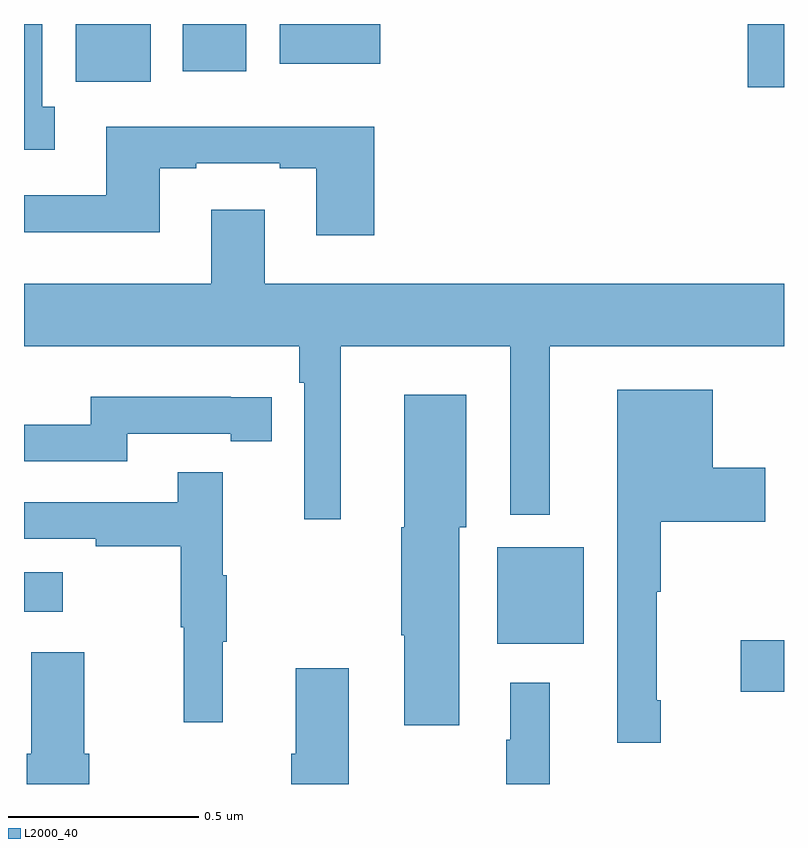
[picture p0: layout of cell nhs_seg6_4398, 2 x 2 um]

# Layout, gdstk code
import gdstk
lib = gdstk.Library(unit=1e-6, precision=1e-09)
def R(c, l, rs):  # rectangles x0, y0, x1, y1
    for r in rs: c.add(gdstk.rectangle(r[:2], r[2:], *l))
def P(c, l, *ps):  # polygons
    for p in ps: c.add(gdstk.Polygon(p, *l))
L2000_40 = (2000, 40)

nhs_seg6_4398 = lib.new_cell('nhs_seg6_4398')
R(nhs_seg6_4398, L2000_40, [(170.886,963.743,171,963.878), (170.246,963.869,170.473,964.123), (169,963.953,169.102,964.057), (170.904,965.333,171,965.5), (169.136,965.348,169.333,965.5), (169.418,965.376,169.585,965.5), (169.673,965.396,169.937,965.5)])
P(nhs_seg6_4398, L2000_40, [(169.081,965.282),(169.048,965.282),(169.048,965.5),(169,965.5),(169,965.169),(169.081,965.169)],
  [(169.922,965.23),(169.217,965.23),(169.217,965.049),(169,965.049),(169,964.952),(169.357,964.952),(169.357,965.121),(169.453,965.121),(169.453,965.133),(169.673,965.133),(169.673,965.121),(169.769,965.121),(169.769,964.944),(169.922,964.944)],
  [(169.834,964.652),(170.279,964.652),(170.279,964.208),(170.383,964.208),(170.383,964.652),(171,964.652),(171,964.816),(169.633,964.816),(169.633,965.011),(169.493,965.011),(169.493,964.816),(169,964.816),(169,964.652),(169.724,964.652),(169.724,964.556),(169.737,964.556),(169.737,964.197),(169.834,964.197)],
  [(170.675,963.721),(170.665,963.721),(170.665,964.006),(170.675,964.006),(170.675,964.19),(170.95,964.19),(170.95,964.332),(170.812,964.332),(170.812,964.537),(170.561,964.537),(170.561,963.609),(170.675,963.609)],
  [(170.146,964.176),(170.164,964.176),(170.164,964.525),(170,964.525),(170,964.176),(169.993,964.176),(169.993,963.892),(170,963.892),(170,963.654),(170.146,963.654)],
  [(169.272,964.422),(169.544,964.422),(169.544,964.402),(169.652,964.402),(169.652,964.518),(169.544,964.518),(169.544,964.519),(169.176,964.519),(169.176,964.446),(169,964.446),(169,964.35),(169.272,964.35)],
  [(169.523,963.875),(169.534,963.875),(169.534,964.049),(169.523,964.049),(169.523,964.321),(169.405,964.321),(169.405,964.242),(169,964.242),(169,964.146),(169.189,964.146),(169.189,964.126),(169.413,964.126),(169.413,963.912),(169.42,963.912),(169.42,963.663),(169.523,963.663)],
  [(169.172,963.58),(169.159,963.58),(169.159,963.847),(169.019,963.847),(169.019,963.58),(169.007,963.58),(169.007,963.5),(169.172,963.5)],
  [(169.855,963.805),(169.715,963.805),(169.715,963.58),(169.703,963.58),(169.703,963.5),(169.855,963.5)],
  [(170.383,963.766),(170.279,963.766),(170.279,963.617),(170.269,963.617),(170.269,963.5),(170.383,963.5)])

lib.write_gds('nhs_seg6_4398.gds')
